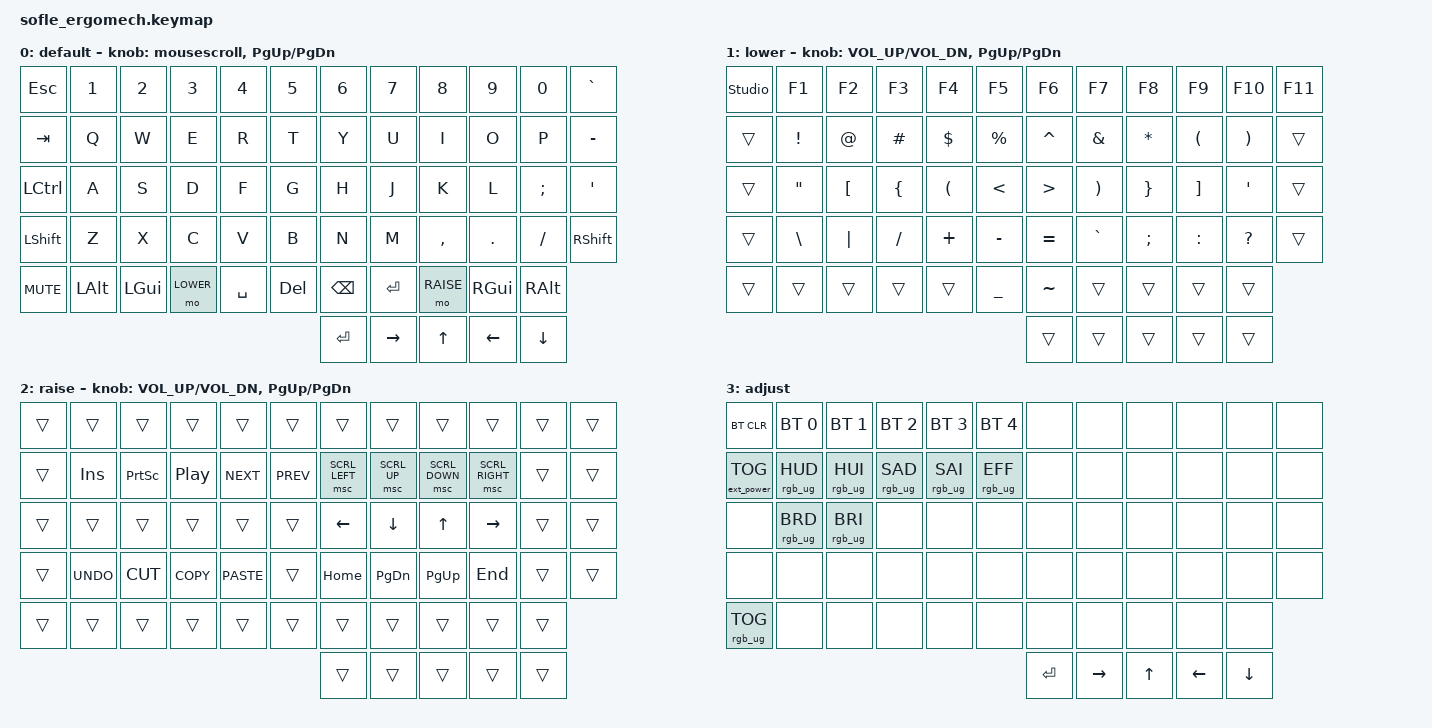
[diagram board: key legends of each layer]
/*
 * Copyright (c) 2020 The ZMK Contributors
 *
 * SPDX-License-Identifier: MIT
 */
#define ZMK_POINTING_DEFAULT_SCRL_VAL 300
#include <dt-bindings/zmk/pointing.h>
#include <behaviors.dtsi>
#include <dt-bindings/zmk/bt.h>
#include <dt-bindings/zmk/ext_power.h>
#include <dt-bindings/zmk/keys.h>
#include <dt-bindings/zmk/rgb.h>

#define BASE 0
#define LOWER 1
#define RAISE 2
#define ADJUST 3

/ {
    // Activate ADJUST layer by pressing raise and lower

    conditional_layers {
        compatible = "zmk,conditional-layers";

        adjust_layer {
            if-layers = <LOWER RAISE>;
            then-layer = <ADJUST>;
        };
    };	
	
	behaviors {
        mousescroll: mousescroll {
            compatible = "zmk,behavior-sensor-rotate";
            #sensor-binding-cells = <0>;
            bindings = <&msc SCRL_UP>, <&msc SCRL_DOWN>;
			tap-ms = <20>;
        };
    };

    keymap {
        compatible = "zmk,keymap";

        default_layer {
            label = "default";

            // ------------------------------------------------------------------------------------------------------------
            // |  ESC  |  1  |  2  |  3   |  4   |  5   |                   |  6   |  7    |  8    |  9   |   0   |   `   |
            // |  TAB  |  Q  |  W  |  E   |  R   |  T   |                   |  Y   |  U    |  I    |  O   |   P   |   -   |
            // | LCTRL |  A  |  S  |  D   |  F   |  G   |                   |  H   |  J    |  K    |  L   |   ;   |   '   |
            // | LSHFT |  Z  |  X  |  C   |  V   |  B   |  MUTE  |  |       |  N   |  M    |  ,    |  .   |   /   | RSHFT |
            //               | LALT| LWIN | LOWER| SPACE|  DEL   |  | BKSPC | ENTER| RAISE | RWIN  | RALT |

            bindings = <
&kp ESC     &kp N1    &kp N2    &kp N3     &kp N4     &kp N5   &kp N6     &kp N7     &kp N8        &kp N9    &kp N0    &kp GRAVE
&kp TAB     &kp Q     &kp W     &kp E      &kp R      &kp T    &kp Y      &kp U      &kp I         &kp O     &kp P     &kp MINUS
&kp LCTRL   &kp A     &kp S     &kp D      &kp F      &kp G    &kp H      &kp J      &kp K         &kp L     &kp SEMI  &kp SQT
&kp LSHFT   &kp Z     &kp X     &kp C      &kp V      &kp B    &kp N      &kp M      &kp COMMA     &kp DOT   &kp FSLH  &kp RSHFT
&kp C_MUTE  &kp LALT  &kp LGUI  &mo LOWER  &kp SPACE  &kp DEL  &kp BSPC   &kp RET    &mo RAISE     &kp RGUI  &kp RALT
                                                               &kp ENTER  &kp RIGHT  &kp UP  &kp LEFT  &kp DOWN
            >;

            sensor-bindings = <&mousescroll &inc_dec_kp PG_UP PG_DN>;
        };

        lower_layer {
            label = "lower";

            // ------------------------------------------------------------------------------------------------------------
            // | UNLCK | F1  | F2  | F3   | F4   | F5   |                   |  F6  |  F7   |  F8   |  F9  |  F10  |  F11  |
            // |       |  !  |  @  |  #   |  $   |  %   |                   |  ^   |  &    |  *    |  (   |   )   |       |
            // |       |  "  |  [  |  {   |  (   |  <   |                   |  >   |  )    |  }    |  ]   |   '   |       |
            // |       |  \  |  |  |  /   |  +   |  -   |        |  |       |  =   |  `    |  ;    |  :   |   ?   |       |
            //               |     |      |      |      |   _    |  |   ~   |      |       |       |      |

            bindings = <
&studio_unlock   &kp F1     &kp F2    &kp F3     &kp F4     &kp F5      &kp F6     &kp F7     &kp F8     &kp F9     &kp F10    &kp F11
&trans           &kp EXCL   &kp AT    &kp HASH   &kp DLLR   &kp PRCNT   &kp CARET  &kp AMPS   &kp ASTRK  &kp LPAR   &kp RPAR   &trans
&trans           &kp DQT    &kp LBKT  &kp LBRC   &kp LPAR   &kp LT      &kp GT     &kp RPAR   &kp RBRC   &kp RBKT   &kp SQT    &trans
&trans           &kp BSLH   &kp PIPE  &kp FSLH   &kp PLUS   &kp MINUS   &kp EQUAL  &kp GRAVE  &kp SEMI   &kp COLON  &kp QMARK  &trans
&trans           &trans     &trans    &trans     &trans     &kp UNDER   &kp TILDE  &trans     &trans     &trans     &trans
                                                                        &trans     &trans     &trans     &trans     &trans
            >;

            sensor-bindings = <&inc_dec_kp C_VOL_UP C_VOL_DN &inc_dec_kp PG_UP PG_DN>;
        };

        raise_layer {
            label = "raise";

            // ------------------------------------------------------------------------------------------------------------
            // |       |      |       | (= DEFAULT) |      |                  |      |       |       |      |       |       |
            // |       | INS  | PSCR  | PLAY | NEXT | PREV |                  | WH<- | WH^   | WHv   | WH-> |       |       |
            // |       |      |       |      |      |      |                  |  <-  |   v   |   ^   |  ->  |       |       |
            // |       | UNDO | CUT   | COPY | PASTE|      |        |  |      | HOME | PGDN  | PGUP  | END  |       |       |
            //                |      |       |      |      |        |  |      |      |       |       |      |

            bindings = <
&trans   &trans       &trans     &trans      &trans       &trans     &trans          &trans         &trans          &trans           &trans   &trans
&trans   &kp INS      &kp PSCRN  &kp C_PP    &kp C_NEXT   &kp C_PREV  &msc SCRL_LEFT  &msc SCRL_UP   &msc SCRL_DOWN  &msc SCRL_RIGHT  &trans   &trans
&trans   &trans       &trans     &trans      &trans       &trans     &kp LEFT        &kp DOWN       &kp UP          &kp RIGHT        &trans   &trans
&trans   &kp K_UNDO   &kp K_CUT  &kp K_COPY  &kp K_PASTE  &trans     &kp HOME        &kp PG_DN      &kp PG_UP       &kp END          &trans   &trans
&trans   &trans       &trans     &trans      &trans       &trans     &trans          &trans         &trans          &trans           &trans
                                                                     &trans          &trans         &trans          &trans           &trans
            >;

            sensor-bindings = <&inc_dec_kp C_VOL_UP C_VOL_DN &inc_dec_kp PG_UP PG_DN>;
        };

        adjust_layer {
            // ----------------------------------------------------------------------------------------------------------------------------
            // | BTCLR  |  BT1    |  BT2    |   BT3   |   BT4   |   BT5   |                  |      |      |       |      |       |       |
            // | EXTPWR | RGB_HUD | RGB_HUI | RGB_SAD | RGB_SAI | RGB_EFF |                  |      |      |       |      |       |       |
            // |        | RGB_BRD | RGB_BRI |         |         |         |                  |      |      |       |      |       |       |
            // |        |         |         |         |         |         | RGB_TOG | |      |      |      |       |      |       |       |
            //                    |         |         |         |         |         | |      |      |      |       |      |

            label = "adjust";
            bindings = <
&bt BT_CLR         &bt BT_SEL 0     &bt BT_SEL 1     &bt BT_SEL 2     &bt BT_SEL 3     &bt BT_SEL 4     &none      &none      &none   &none     &none  &none
&ext_power EP_TOG  &rgb_ug RGB_HUD  &rgb_ug RGB_HUI  &rgb_ug RGB_SAD  &rgb_ug RGB_SAI  &rgb_ug RGB_EFF  &none      &none      &none   &none     &none  &none
&none              &rgb_ug RGB_BRD  &rgb_ug RGB_BRI  &none            &none            &none            &none      &none      &none   &none     &none  &none
&none              &none            &none            &none            &none            &none            &none      &none      &none   &none     &none  &none
&rgb_ug RGB_TOG    &none            &none            &none            &none            &none            &none      &none      &none   &none     &none
                                                                                                        &kp ENTER  &kp RIGHT  &kp UP  &kp LEFT  &kp DOWN
            >;
        };
    };
};
